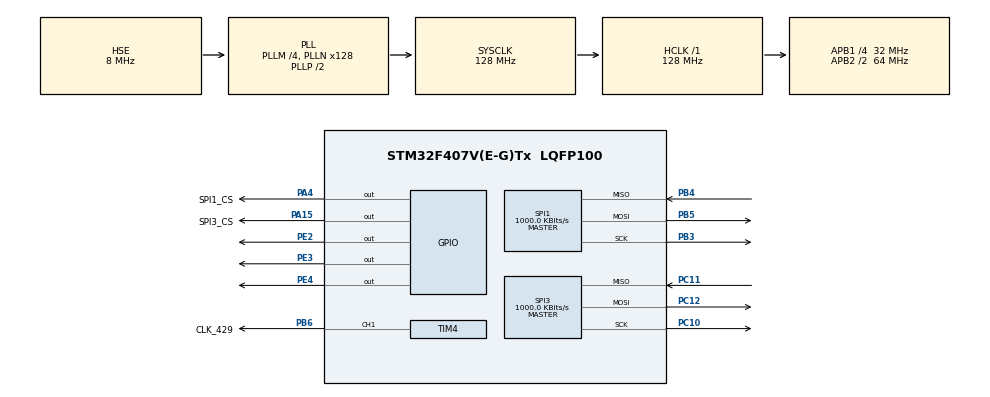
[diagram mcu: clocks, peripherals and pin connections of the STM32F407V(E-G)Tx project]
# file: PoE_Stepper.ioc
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Mcu.Family=STM32F4
Mcu.Name=STM32F407V(E-G)Tx
Mcu.Package=LQFP100
NVIC.PriorityGroup=NVIC_PRIORITYGROUP_4
PA15.GPIO_Label=SPI3_CS
PA15.Signal=GPIO_Output
PA4.GPIO_Label=SPI1_CS
PA4.Signal=GPIO_Output
PB3.Mode=Full_Duplex_Master
PB3.Signal=SPI1_SCK
PB4.Mode=Full_Duplex_Master
PB4.Signal=SPI1_MISO
PB5.Mode=Full_Duplex_Master
PB5.Signal=SPI1_MOSI
PB6.GPIO_Label=CLK_429
PB6.Signal=S_TIM4_CH1
PC10.Mode=Full_Duplex_Master
PC10.Signal=SPI3_SCK
PC11.Mode=Full_Duplex_Master
PC11.Signal=SPI3_MISO
PC12.Mode=Full_Duplex_Master
PC12.Signal=SPI3_MOSI
PE2.Signal=GPIO_Output
PE3.Signal=GPIO_Output
PE4.Signal=GPIO_Output
PH0-OSC_IN.Mode=HSE-External-Oscillator
PH0-OSC_IN.Signal=RCC_OSC_IN
PH1-OSC_OUT.Mode=HSE-External-Oscillator
PH1-OSC_OUT.Signal=RCC_OSC_OUT
ProjectManager.HeapSize=0x200
ProjectManager.StackSize=0x400
ProjectManager.TargetToolchain=STM32CubeIDE
RCC.48MHZClocksFreq_Value=64000000
RCC.AHBFreq_Value=128000000
RCC.APB1CLKDivider=RCC_HCLK_DIV4
RCC.APB1Freq_Value=32000000
RCC.APB1TimFreq_Value=64000000
RCC.APB2CLKDivider=RCC_HCLK_DIV2
RCC.APB2Freq_Value=64000000
RCC.APB2TimFreq_Value=128000000
RCC.CortexFreq_Value=128000000
RCC.HCLKFreq_Value=128000000
RCC.HSE_VALUE=8000000
RCC.HSI_VALUE=16000000
RCC.LSE_VALUE=32768
RCC.PLLM=4
RCC.PLLN=128
RCC.PLLSourceVirtual=RCC_PLLSOURCE_HSE
RCC.SYSCLKFreq_VALUE=128000000
RCC.SYSCLKSource=RCC_SYSCLKSOURCE_PLLCLK
RCC.VCOOutputFreq_Value=256000000
SH.S_TIM4_CH1.0=TIM4_CH1,PWM Generation1 CH1
SPI1.BaudRatePrescaler=SPI_BAUDRATEPRESCALER_64
SPI1.CLKPhase=SPI_PHASE_2EDGE
SPI1.CLKPolarity=SPI_POLARITY_HIGH
SPI1.CalculateBaudRate=1000.0 KBits/s
SPI1.Direction=SPI_DIRECTION_2LINES
SPI1.Mode=SPI_MODE_MASTER
SPI1.VirtualType=VM_MASTER
SPI3.BaudRatePrescaler=SPI_BAUDRATEPRESCALER_32
SPI3.CLKPhase=SPI_PHASE_2EDGE
SPI3.CLKPolarity=SPI_POLARITY_HIGH
SPI3.CalculateBaudRate=1000.0 KBits/s
SPI3.DataSize=SPI_DATASIZE_8BIT
SPI3.Direction=SPI_DIRECTION_2LINES
SPI3.Mode=SPI_MODE_MASTER
SPI3.VirtualType=VM_MASTER
TIM1.Period=8-1
TIM4.Channel-PWM\ Generation1\ CH1=TIM_CHANNEL_1
TIM4.OCMode_PWM-PWM\ Generation1\ CH1=TIM_OCMODE_PWM1
TIM4.Period=2-1
TIM4.Prescaler=1
VP_TIM1_VS_ClockSourceINT.Mode=Internal
VP_TIM4_VS_ClockSourceINT.Mode=Internal
board=custom

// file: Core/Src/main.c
/* USER CODE BEGIN Header */
/**
  ******************************************************************************
  * @file           : main.c
  * @brief          : Main program body
  ******************************************************************************
  * @attention
  *
  * Copyright (c) 2022 STMicroelectronics.
  * All rights reserved.
  *
  * This software is licensed under terms that can be found in the LICENSE file
  * in the root directory of this software component.
  * If no LICENSE file comes with this software, it is provided AS-IS.
  *
  ******************************************************************************
  */
/* USER CODE END Header */
#include "main.h"

SPI_HandleTypeDef hspi1;
SPI_HandleTypeDef hspi3;

TIM_HandleTypeDef htim1;
TIM_HandleTypeDef htim4;

void SystemClock_Config(void);
static void MX_GPIO_Init(void);
static void MX_SPI1_Init(void);
static void MX_SPI3_Init(void);
static void MX_TIM1_Init(void);
static void MX_TIM4_Init(void);
/* USER CODE BEGIN PFP */
uint8_t SPI_2660_Init(void);
uint8_t SPI_429_Init(void);
void const_vel_test_429 (void);
void set_motor_pos(uint32_t position);
/* USER CODE END PFP */

int main(void)
{

  /* MCU Configuration--------------------------------------------------------*/

  /* Reset of all peripherals, Initializes the Flash interface and the Systick. */
  HAL_Init();

  /* Configure the system clock */
  SystemClock_Config();

  /* Initialize all configured peripherals */
  MX_GPIO_Init();
  MX_SPI1_Init();
  MX_SPI3_Init();
  MX_TIM1_Init();
  MX_TIM4_Init();
  /* USER CODE BEGIN 2 */

  //  TIM1->CCR4 = 4; //set duty cycle of tim1 ch4
     //set duty cycle of tim4 ch1

    //HAL_TIM_PWM_Start(&htim1, TIM_CHANNEL_4); //start tim1 ch4 pwm

  //  HAL_TIM_Base_Start(&htim4);
  TIM4->CCR1 = 1;
  HAL_TIM_PWM_Start(&htim4, TIM_CHANNEL_1); //start tim4 ch1 pwm

  uint8_t spi_buf[3];
  spi_buf[0] = 0x00;
  spi_buf[1] = 0x00;
  spi_buf[2] = 0x08;

  SPI_2660_Init();
  SPI_429_Init();

  /* USER CODE END 2 */

  /* Infinite loop */
  while (1)
  {

    /* USER CODE BEGIN 3 */
	HAL_GPIO_TogglePin(GPIOE, GPIO_PIN_4);

//	const_vel_test_429();

	set_motor_pos(1);
	HAL_Delay(5000);

//	HAL_GPIO_WritePin(GPIOA, GPIO_PIN_15, GPIO_PIN_RESET);
//	HAL_SPI_Transmit(&hspi3,(uint8_t *)spi_buf, 3, 100);
//	HAL_GPIO_WritePin(GPIOA, GPIO_PIN_15, GPIO_PIN_SET);

  }
  /* USER CODE END 3 */
}

void SystemClock_Config(void)
{
  RCC_OscInitTypeDef RCC_OscInitStruct = {0};
  RCC_ClkInitTypeDef RCC_ClkInitStruct = {0};

  /** Configure the main internal regulator output voltage
  */
  __HAL_RCC_PWR_CLK_ENABLE();
  __HAL_PWR_VOLTAGESCALING_CONFIG(PWR_REGULATOR_VOLTAGE_SCALE1);
  /** Initializes the RCC Oscillators according to the specified parameters
  * in the RCC_OscInitTypeDef structure.
  */
  RCC_OscInitStruct.OscillatorType = RCC_OSCILLATORTYPE_HSE;
  RCC_OscInitStruct.HSEState = RCC_HSE_ON;
  RCC_OscInitStruct.PLL.PLLState = RCC_PLL_ON;
  RCC_OscInitStruct.PLL.PLLSource = RCC_PLLSOURCE_HSE;
  RCC_OscInitStruct.PLL.PLLM = 4;
  RCC_OscInitStruct.PLL.PLLN = 128;
  RCC_OscInitStruct.PLL.PLLP = RCC_PLLP_DIV2;
  RCC_OscInitStruct.PLL.PLLQ = 4;
  if (HAL_RCC_OscConfig(&RCC_OscInitStruct) != HAL_OK)
  {
    Error_Handler();
  }
  /** Initializes the CPU, AHB and APB buses clocks
  */
  RCC_ClkInitStruct.ClockType = RCC_CLOCKTYPE_HCLK|RCC_CLOCKTYPE_SYSCLK
                              |RCC_CLOCKTYPE_PCLK1|RCC_CLOCKTYPE_PCLK2;
  RCC_ClkInitStruct.SYSCLKSource = RCC_SYSCLKSOURCE_PLLCLK;
  RCC_ClkInitStruct.AHBCLKDivider = RCC_SYSCLK_DIV1;
  RCC_ClkInitStruct.APB1CLKDivider = RCC_HCLK_DIV4;
  RCC_ClkInitStruct.APB2CLKDivider = RCC_HCLK_DIV2;

  if (HAL_RCC_ClockConfig(&RCC_ClkInitStruct, FLASH_LATENCY_4) != HAL_OK)
  {
    Error_Handler();
  }
}

static void MX_SPI1_Init(void)
{

  /* SPI1 parameter configuration*/
  hspi1.Instance = SPI1;
  hspi1.Init.Mode = SPI_MODE_MASTER;
  hspi1.Init.Direction = SPI_DIRECTION_2LINES;
  hspi1.Init.DataSize = SPI_DATASIZE_8BIT;
  hspi1.Init.CLKPolarity = SPI_POLARITY_HIGH;
  hspi1.Init.CLKPhase = SPI_PHASE_2EDGE;
  hspi1.Init.NSS = SPI_NSS_SOFT;
  hspi1.Init.BaudRatePrescaler = SPI_BAUDRATEPRESCALER_64;
  hspi1.Init.FirstBit = SPI_FIRSTBIT_MSB;
  hspi1.Init.TIMode = SPI_TIMODE_DISABLE;
  hspi1.Init.CRCCalculation = SPI_CRCCALCULATION_DISABLE;
  hspi1.Init.CRCPolynomial = 10;
  if (HAL_SPI_Init(&hspi1) != HAL_OK)
  {
    Error_Handler();
  }

}

static void MX_SPI3_Init(void)
{

  /* SPI3 parameter configuration*/
  hspi3.Instance = SPI3;
  hspi3.Init.Mode = SPI_MODE_MASTER;
  hspi3.Init.Direction = SPI_DIRECTION_2LINES;
  hspi3.Init.DataSize = SPI_DATASIZE_8BIT;
  hspi3.Init.CLKPolarity = SPI_POLARITY_HIGH;
  hspi3.Init.CLKPhase = SPI_PHASE_2EDGE;
  hspi3.Init.NSS = SPI_NSS_SOFT;
  hspi3.Init.BaudRatePrescaler = SPI_BAUDRATEPRESCALER_32;
  hspi3.Init.FirstBit = SPI_FIRSTBIT_MSB;
  hspi3.Init.TIMode = SPI_TIMODE_DISABLE;
  hspi3.Init.CRCCalculation = SPI_CRCCALCULATION_DISABLE;
  hspi3.Init.CRCPolynomial = 10;
  if (HAL_SPI_Init(&hspi3) != HAL_OK)
  {
    Error_Handler();
  }

}

static void MX_TIM1_Init(void)
{

  TIM_ClockConfigTypeDef sClockSourceConfig = {0};
  TIM_MasterConfigTypeDef sMasterConfig = {0};

  htim1.Instance = TIM1;
  htim1.Init.Prescaler = 0;
  htim1.Init.CounterMode = TIM_COUNTERMODE_UP;
  htim1.Init.Period = 8-1;
  htim1.Init.ClockDivision = TIM_CLOCKDIVISION_DIV1;
  htim1.Init.RepetitionCounter = 0;
  htim1.Init.AutoReloadPreload = TIM_AUTORELOAD_PRELOAD_DISABLE;
  if (HAL_TIM_Base_Init(&htim1) != HAL_OK)
  {
    Error_Handler();
  }
  sClockSourceConfig.ClockSource = TIM_CLOCKSOURCE_INTERNAL;
  if (HAL_TIM_ConfigClockSource(&htim1, &sClockSourceConfig) != HAL_OK)
  {
    Error_Handler();
  }
  sMasterConfig.MasterOutputTrigger = TIM_TRGO_RESET;
  sMasterConfig.MasterSlaveMode = TIM_MASTERSLAVEMODE_DISABLE;
  if (HAL_TIMEx_MasterConfigSynchronization(&htim1, &sMasterConfig) != HAL_OK)
  {
    Error_Handler();
  }

}

static void MX_TIM4_Init(void)
{

  TIM_ClockConfigTypeDef sClockSourceConfig = {0};
  TIM_MasterConfigTypeDef sMasterConfig = {0};
  TIM_OC_InitTypeDef sConfigOC = {0};

  htim4.Instance = TIM4;
  htim4.Init.Prescaler = 1;
  htim4.Init.CounterMode = TIM_COUNTERMODE_UP;
  htim4.Init.Period = 2-1;
  htim4.Init.ClockDivision = TIM_CLOCKDIVISION_DIV1;
  htim4.Init.AutoReloadPreload = TIM_AUTORELOAD_PRELOAD_DISABLE;
  if (HAL_TIM_Base_Init(&htim4) != HAL_OK)
  {
    Error_Handler();
  }
  sClockSourceConfig.ClockSource = TIM_CLOCKSOURCE_INTERNAL;
  if (HAL_TIM_ConfigClockSource(&htim4, &sClockSourceConfig) != HAL_OK)
  {
    Error_Handler();
  }
  if (HAL_TIM_PWM_Init(&htim4) != HAL_OK)
  {
    Error_Handler();
  }
  sMasterConfig.MasterOutputTrigger = TIM_TRGO_RESET;
  sMasterConfig.MasterSlaveMode = TIM_MASTERSLAVEMODE_DISABLE;
  if (HAL_TIMEx_MasterConfigSynchronization(&htim4, &sMasterConfig) != HAL_OK)
  {
    Error_Handler();
  }
  sConfigOC.OCMode = TIM_OCMODE_PWM1;
  sConfigOC.Pulse = 0;
  sConfigOC.OCPolarity = TIM_OCPOLARITY_HIGH;
  sConfigOC.OCFastMode = TIM_OCFAST_DISABLE;
  if (HAL_TIM_PWM_ConfigChannel(&htim4, &sConfigOC, TIM_CHANNEL_1) != HAL_OK)
  {
    Error_Handler();
  }
  HAL_TIM_MspPostInit(&htim4);

}

static void MX_GPIO_Init(void)
{
  GPIO_InitTypeDef GPIO_InitStruct = {0};

  /* GPIO Ports Clock Enable */
  __HAL_RCC_GPIOE_CLK_ENABLE();
  __HAL_RCC_GPIOH_CLK_ENABLE();
  __HAL_RCC_GPIOA_CLK_ENABLE();
  __HAL_RCC_GPIOC_CLK_ENABLE();
  __HAL_RCC_GPIOB_CLK_ENABLE();

  /*Configure GPIO pin Output Level */
  HAL_GPIO_WritePin(GPIOE, GPIO_PIN_2|GPIO_PIN_3|GPIO_PIN_4, GPIO_PIN_RESET);

  /*Configure GPIO pin Output Level */
  HAL_GPIO_WritePin(GPIOA, SPI1_CS_Pin|SPI3_CS_Pin, GPIO_PIN_RESET);

  /*Configure GPIO pins : PE2 PE3 PE4 */
  GPIO_InitStruct.Pin = GPIO_PIN_2|GPIO_PIN_3|GPIO_PIN_4;
  GPIO_InitStruct.Mode = GPIO_MODE_OUTPUT_PP;
  GPIO_InitStruct.Pull = GPIO_NOPULL;
  GPIO_InitStruct.Speed = GPIO_SPEED_FREQ_LOW;
  HAL_GPIO_Init(GPIOE, &GPIO_InitStruct);

  /*Configure GPIO pins : SPI1_CS_Pin SPI3_CS_Pin */
  GPIO_InitStruct.Pin = SPI1_CS_Pin|SPI3_CS_Pin;
  GPIO_InitStruct.Mode = GPIO_MODE_OUTPUT_PP;
  GPIO_InitStruct.Pull = GPIO_NOPULL;
  GPIO_InitStruct.Speed = GPIO_SPEED_FREQ_LOW;
  HAL_GPIO_Init(GPIOA, &GPIO_InitStruct);

}

/* USER CODE BEGIN 4 */

HAL_StatusTypeDef SPI_2660_Transmit(uint8_t * dataBuffer){
    HAL_StatusTypeDef err;
    uint8_t spi_buf[3];

    HAL_GPIO_WritePin(GPIOA, GPIO_PIN_15, GPIO_PIN_RESET);
    err = HAL_SPI_TransmitReceive(&hspi3, (uint8_t *)dataBuffer, (uint8_t *)spi_buf,  3, 100);
    while(HAL_SPI_GetState(&hspi3) != HAL_SPI_STATE_READY);
//    HAL_SPI_Receive(&hspi3, (uint8_t *)spi_buf, 5, 100);
//    while(HAL_SPI_GetState(&hspi3) != HAL_SPI_STATE_READY);
    HAL_GPIO_WritePin(GPIOA, GPIO_PIN_15, GPIO_PIN_SET);

    return err;
}

uint8_t SPI_2660_Init(void){
    uint8_t wData[3];
    wData[0] = 0x09;            // SPI = $94557  Constant toff mode
    wData[1] = 0x01;
    wData[2] = 0xB4;
    SPI_2660_Transmit(wData);

    wData[0] = 0x0D;            // SPI = $D001F  Current setting: $d001F (max. current) (D000A = 1/3 current)
    wData[1] = 0x00;
    wData[2] = 0x08;
    SPI_2660_Transmit(wData);

    wData[0] = 0x0E;            // SPI = $E0090  low driver strength, StallGuard2 read, SDOFF=1
    wData[1] = 0x00;            //  1110 0000 0000 1001 0000
    wData[2] = 0x10;
    SPI_2660_Transmit(wData);

    wData[0] = 0x00;            // SPI = $00000  256 microstep setting, $00002 = 64 microsteps
    wData[1] = 0x00;
    wData[2] = 0x02;
    SPI_2660_Transmit(wData);

    return 0;

}

HAL_StatusTypeDef SPI_429_Transmit(uint8_t * dataBuffer){
    HAL_StatusTypeDef err;
    uint8_t spi_buf[4];

    HAL_GPIO_WritePin(GPIOA, GPIO_PIN_4, GPIO_PIN_RESET);
    err = HAL_SPI_TransmitReceive(&hspi1, (uint8_t *)dataBuffer, (uint8_t *)spi_buf,  4, 100);
    while(HAL_SPI_GetState(&hspi3) != HAL_SPI_STATE_READY);
//    HAL_SPI_Receive(&hspi3, (uint8_t *)spi_buf, 5, 100);
//    while(HAL_SPI_GetState(&hspi3) != HAL_SPI_STATE_READY);
    HAL_GPIO_WritePin(GPIOA, GPIO_PIN_4, GPIO_PIN_SET);

    return err;
}

uint8_t SPI_429_Init(void){
    uint8_t wData[4];
    wData[0] = 0x04;            // SPI = $04000007,
    wData[1] = 0x00;
    wData[2] = 0x00;
    wData[3] = 0x07;
    SPI_429_Transmit(wData);

    wData[0] = 0x06;            // SPI = $060007FF
    wData[1] = 0x00;
    wData[2] = 0x07;
    wData[3] = 0xFF;
    SPI_429_Transmit(wData);

    wData[0] = 0x18;            // SPI = $18003307
    wData[1] = 0x00;
    wData[2] = 0x33;			// set PULSE_DIV, RAMP_DIV
    wData[3] = 0x07;			// set USRS (resolution) = 111 (64 microstep resolution)
    SPI_429_Transmit(wData);

    wData[0] = 0x14;            // SPI = $18003300
	wData[1] = 0x00;
	wData[2] = 0x03;			// REF_CONF = (ref_RnL, soft_stop, disable_stop_r, disable_stop_l) = 0b0011 = 0x3
	wData[3] = 0x00;			// RAMP_MODE = 0 (ramp mode), 1 (soft mode), 2 (velocity mode)
	SPI_429_Transmit(wData);

    wData[0] = 0x0C;            // SPI = $0C00000A
    wData[1] = 0x00;
    wData[2] = 0x00;
    wData[3] = 0x0A;
    SPI_429_Transmit(wData);

    wData[0] = 0x12;            // SPI = $1200E808
    wData[1] = 0x00;
    wData[2] = 0xE8;
    wData[3] = 0x08;
    SPI_429_Transmit(wData);

    wData[0] = 0x0A;            // SPI = $0A000300
    wData[1] = 0x00;
    wData[2] = 0x03;
    wData[3] = 0x00;
    SPI_429_Transmit(wData);

    return 0;

}

void const_vel_test_429 (void){
	uint8_t wData[4];

    wData[0] = 0x08;            // SPI = 0000 1000 0000 0000 0000 0000 0001 0000
    wData[1] = 0x00;
    wData[2] = 0x00;
    wData[3] = 0x10;
    SPI_429_Transmit(wData);
}

void set_motor_pos(uint32_t position){

	// set motor position: 0 00 0000 0 xxxxxxxx xxxxxxxx xxxxxxxx (24-bit position)
	// set ramp mode: 010 1010 0 (0x54) xxxxxxx(lp) xxxxaaaa(ref_conf) xxxxxxaa(ramp mode)

	uint8_t wData[4];
	wData[0] = 0x00;
	wData[1] = 0x00;
	wData[2] = 0x32;
	wData[3] = 0x00;
	SPI_429_Transmit(wData);

	HAL_Delay(5000);

	wData[0] = 0x00;
	wData[1] = 0x00;
	wData[2] = 0x00;
	wData[3] = 0x00;
	SPI_429_Transmit(wData);

}
/* USER CODE END 4 */

void Error_Handler(void)
{
  __disable_irq();
  while (1)
  {
  }
}
